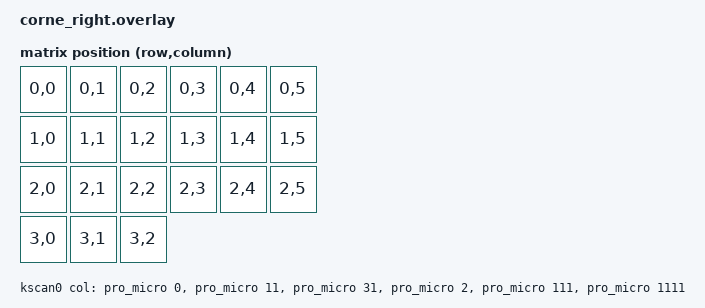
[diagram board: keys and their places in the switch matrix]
#include <dt-bindings/zmk/matrix_transform.h>

&chosen {
    zmk,kscan = &kscan0;
    zmk,matrix-transform = &matrix_transform;
    zmk,studio-rpc-uart = &uart1;
};

kscan0: kscan_0 {
    compatible = "zmk,kscan-gpio-matrix";
    label = "KSCAN";
    diode-direction = "col2row";

    col-gpios = <&gpio0 2 GPIO_ACTIVE_HIGH>,
                <&gpio0 3 GPIO_ACTIVE_HIGH>,
                <&gpio0 4 GPIO_ACTIVE_HIGH>,
                <&gpio0 5 GPIO_ACTIVE_HIGH>,
                <&gpio0 6 GPIO_ACTIVE_HIGH>,
                <&gpio0 7 GPIO_ACTIVE_HIGH>;

    col-gpios = <&pro_micro 0  (GPIO_ACTIVE_HIGH | GPIO_PULL_DOWN)>,   
                <&pro_micro 11 (GPIO_ACTIVE_HIGH | GPIO_PULL_DOWN)>,   
                <&pro_micro 31 (GPIO_ACTIVE_HIGH | GPIO_PULL_DOWN)>,   
                <&pro_micro 2  (GPIO_ACTIVE_HIGH | GPIO_PULL_DOWN)>,   
                <&pro_micro 111 (GPIO_ACTIVE_HIGH | GPIO_PULL_DOWN)>,  
                <&pro_micro 1111 (GPIO_ACTIVE_HIGH | GPIO_PULL_DOWN)>; 
};

default_transform: keymap_transform_0 {
    compatible = "zmk,matrix-transform";
    rows = <4>;
    columns = <6>;
    map = <
            RC(0,0) RC(0,1) RC(0,2) RC(0,3) RC(0,4) RC(0,5)
            RC(1,0) RC(1,1) RC(1,2) RC(1,3) RC(1,4) RC(1,5)
            RC(2,0) RC(2,1) RC(2,2) RC(2,3) RC(2,4) RC(2,5)
            RC(3,0) RC(3,1) RC(3,2)
        >;
};
